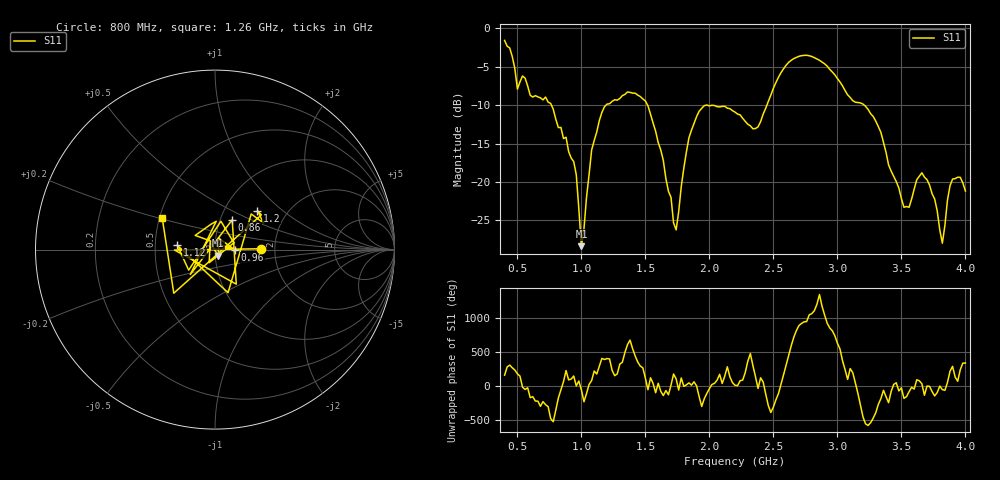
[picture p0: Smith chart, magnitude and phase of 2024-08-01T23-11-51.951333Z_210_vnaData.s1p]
!Created with skrf (http://scikit-rf.org).
# Hz S RI R 50.0
!freq ReS11 ImS11
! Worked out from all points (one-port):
!   181 points, 400 MHz to 4 GHz, reference 50 ohm
!   lowest |S11| = -28.4 dB at 1 GHz (marker M1), VSWR 1.08, Z = 51.7 - j3.49 ohm
!   |S11| at or under -10 dB: 1.517 GHz to 1.978 GHz (461.2 MHz wide, 26.4 % of centre); 1.981 GHz to 2.449 GHz (468.2 MHz wide, 21.1 % of centre); 3.209 GHz to end of sweep (the widest 3 of 4)
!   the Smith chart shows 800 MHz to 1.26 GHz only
!   S11 on the Smith chart (normalised r, x): 800 MHz: 1.69, +0.02; 860 MHz: 1.14, +0.39; 960 MHz: 1.25, -0.00; 1.12 GHz: 0.65, +0.03; 1.2 GHz: 1.42, +0.69; 1.26 GHz: 0.52, +0.21
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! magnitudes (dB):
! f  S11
! 400 MHz  -1.6
! 500 MHz  -7.9
! 540 MHz  -6.2
! 800 MHz  -11.9
! 860 MHz  -14.4
! 960 MHz  -19.1
! 1 GHz  -28.4
! 1.08 GHz  -15.8
! 1.12 GHz  -13.5
! 1.2 GHz  -9.9
! 1.26 GHz  -9.3
! 1.3 GHz  -9.1
! 1.52 GHz  -10.1
! 1.72 GHz  -25.3
! 1.76 GHz  -23.9
! 1.84 GHz  -14.3
! 1.92 GHz  -10.8
! 2.2 GHz  -10.9
! 2.38 GHz  -12.8
! 2.66 GHz  -3.9
! 3.1 GHz  -9.0
! 3.3 GHz  -12.1
! 3.56 GHz  -23.3
! 3.66 GHz  -18.8
! 3.76 GHz  -22.2
! 3.82 GHz  -28.0
! 3.9 GHz  -19.6
! 4 GHz  -21.2
